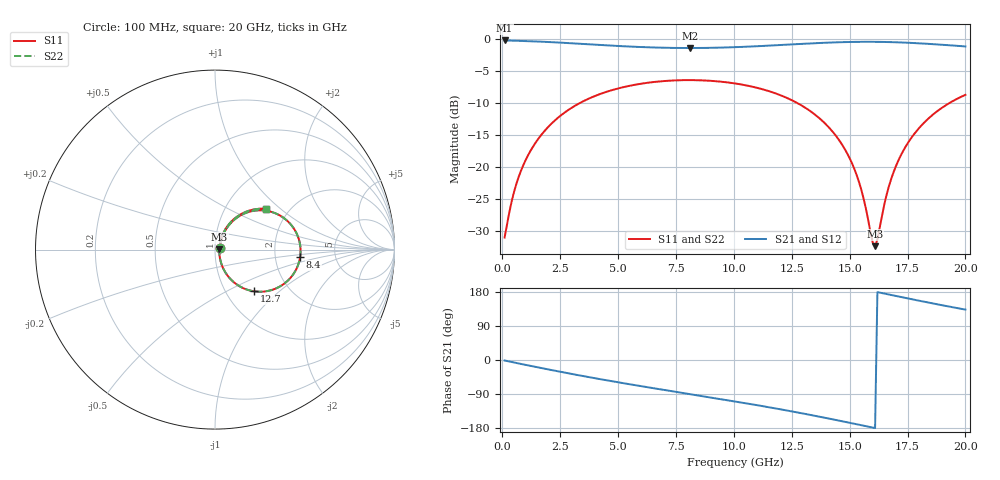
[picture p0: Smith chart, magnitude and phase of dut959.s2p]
! Touchstone file exported from HFSS 2026.1.0
!  File:  C:/ffzhzh/LocalFiles/Ansys_Project_Files/temp_train_TSV_RDL_959_1783284191_30076.aedt
!  Generated:  04:52:26 AM Jul  6, 2026
!  Design:  TSV_RDL
!  Project:  temp_train_TSV_RDL_959_1783284191_30076
! Variables:
!  h_bsmrdl = 2.42um
!  h_ox = 20um
!  h_rdl = 5um
!  h_sub = 80.06um
!  h_tmrdl = 3.72um
!  h_tsv = 80.06um
!  h_via = 3um
!  l_bsmrdl = 717.96um
!  l_sub = 3457.19um
!  l_tmrdl = 198.91um
!  m_sub = 200um
!  pitch = 41.19um
!  r_tsv = 12.94um
!  s_tmrdl = 10um
!  w_bsmrdl = 14.79um
!  w_sub = 500um
!  w_tmrdl = 21.1um
!  x_tsv_center1 = 209.46um
!  x_tsv_center2 = 942.21um
!  x_tsv_center3 = 1162.22um
!  x_tsv_center4 = 1894.97um
!  x_tsv_center5 = 2114.98um
!  x_tsv_center6 = 2847.73um
# GHz S MA R 50.000000
! Terminal data exported
! Port[1] = TM_RDL1_1_T1
! Port[2] = TM_RDL5_1_T1
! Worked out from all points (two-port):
!   200 points, 100 MHz to 20 GHz, reference 50 ohm
!   highest |S21| = -0.22 dB at 100 MHz (marker M1); lowest = -1.4 dB at 8.1 GHz (marker M2)
!   |S21| within 3 dB of the highest: start of sweep to end of sweep
!   lowest |S11| = -32.4 dB at 16.1 GHz (marker M3), VSWR 1.05, Z = 52.4 + j0.133 ohm
!   |S11| at or under -10 dB: start of sweep to 3.361 GHz; 12.73 GHz to 19.32 GHz (6.593 GHz wide, 41.1 % of centre)
!   |S22| runs from -32.3 to -6.4 dB; largest |S21 - S12| = 3.5e-14
!   S11 on the Smith chart (normalised r, x): 100 MHz: 1.05, +0.02; 8.4 GHz: 2.78, -0.29; 12.7 GHz: 1.35, -0.70; 20 GHz: 1.54, +0.81
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0.1  0.02794 23.6  0.9746 -1.3  0.9746 -1.3  0.02794 23.6
! Gamma 0 0 0 0
! Port Impedance 50 0 50 0
0.6  0.07266 59.2  0.9693 -7.8  0.9693 -7.8  0.07266 59.2
1.2  0.1315 61.5  0.9612 -15.3  0.9612 -15.3  0.1315 61.5
2.2  0.2243 54.7  0.9437 -27.4  0.9437 -27.4  0.2243 54.7
3.5  0.3259 42.2  0.9148 -42.5  0.9148 -42.5  0.3259 42.2
5.1  0.4146 26.4  0.8803 -59.8  0.8803 -59.8  0.4146 26.4
6.8  0.4657 10.1  0.8561 -77.1  0.8561 -77.1  0.4657 10.1
8.1  0.4769 -2.1  0.8504 -89.9  0.8504 -89.9  0.4768 -2.1
8.4  0.4761 -4.9  0.8508 -92.8  0.8508 -92.8  0.4761 -4.9
10.1  0.4476 -21.0  0.8642 -109.8  0.8642 -109.8  0.4476 -21.0
12.7  0.3183 -46.9  0.9118 -137.9  0.9118 -137.9  0.3182 -46.9
13.4  0.2646 -54.0  0.9257 -146.0  0.9257 -146.0  0.2646 -53.9
14.3  0.185 -62.4  0.9406 -156.9  0.9406 -156.9  0.185 -62.3
15  0.1167 -66.5  0.9484 -165.7  0.9484 -165.7  0.1167 -66.3
15.5  0.06653 -63.4  0.9511 -172.0  0.9511 -172.0  0.06663 -63.1
16  0.02535 -20.7  0.9512 -178.3  0.9512 -178.3  0.02572 -20.3
16.1  0.02389 3.0  0.9509 -179.6  0.9509 -179.6  0.0243 3.1
16.7  0.07058 61.0  0.9468 172.7  0.9468 172.7  0.07076 60.7
17.2  0.1215 63.3  0.9405 166.4  0.9405 166.4  0.1216 63.1
17.9  0.1913 59.0  0.9279 157.7  0.9279 157.7  0.1914 58.8
18.8  0.2736 50.5  0.9069 146.8  0.9069 146.8  0.2737 50.5
20  0.3655 38.4  0.8751 133.0  0.8751 133.0  0.3655 38.4
